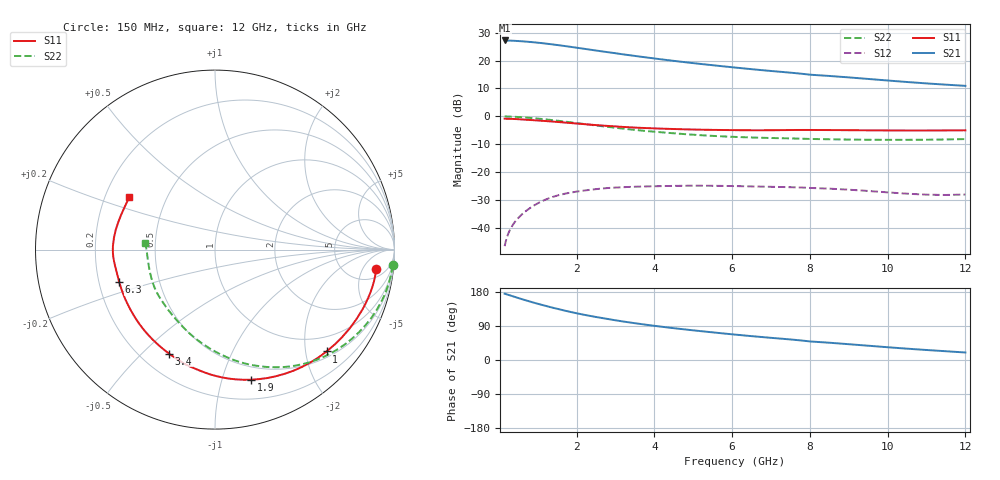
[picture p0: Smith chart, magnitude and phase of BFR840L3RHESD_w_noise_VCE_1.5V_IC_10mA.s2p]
! Infineon Technologies  Discrete & RF Semiconductors
! BFR840L3RHESD
! VCE =  1.5 V,  IC =  10 mA
! Common Emitter S-Parameters:  Jun 2012
# GHz  S  MA  R  50
!  f  S11  S21  S12  S22
! GHz  MAG  ANG  MAG  ANG  MAG  ANG  MAG  ANG
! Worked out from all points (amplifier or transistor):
!   91 points, 150 MHz to 12 GHz, reference 50 ohm
!   highest |S21| = 27.2 dB at 150 MHz (marker M1)
!   |S21| within 3 dB of that: start of sweep to 2.202 GHz
!   unconditionally stable (mu >= 1): 8.34 GHz to end of sweep
!   at 1.3 GHz: K = 0.13, MSG = 27.6 dB, |S12| = -29.3 dB
!   at 4.3 GHz: K = 0.41, MSG = 22.6 dB, |S12| = -25.0 dB
!   at 12 GHz: K = 2.10, MAG = 13.5 dB, |S12| = -28.0 dB
!   lowest NFmin = 0.70 dB at 450 MHz
!   S11 on the Smith chart (normalised r, x): 150 MHz: 8, -10; 1 GHz: 0.63, -2.44; 1.9 GHz: 0.37, -1.25; 3.4 GHz: 0.31, -0.61; 6.3 GHz: 0.29, -0.15; 12 GHz: 0.30, +0.26
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0.15  0.9046 -6.7  22.89 175.0  0.0047 82.3  0.9936 -5.1
0.35  0.898 -15.6  22.65 168.5  0.011 80.8  0.9837 -12.2
0.6  0.878 -26.3  22.1 160.4  0.0176 74.0  0.9615 -20.5
0.8  0.86 -34.5  21.53 154.3  0.0226 68.5  0.9378 -26.8
1  0.8417 -42.4  20.88 148.5  0.0275 63.5  0.9108 -33.0
1.2  0.8229 -50.0  20.15 143.0  0.0321 59.1  0.8818 -38.9
1.4  0.8033 -57.3  19.38 137.7  0.0361 55.0  0.8515 -44.5
1.7  0.7728 -67.8  18.18 130.2  0.041 49.3  0.8045 -52.4
1.9  0.7525 -74.4  17.38 125.6  0.0435 45.7  0.7729 -57.4
2.2  0.7233 -83.7  16.21 119.2  0.0467 40.9  0.7266 -64.4
2.5  0.6964 -92.0  15.11 113.5  0.0495 36.9  0.6844 -70.8
2.9  0.6657 -102.1  13.82 106.5  0.0523 32.6  0.6353 -78.5
3.4  0.6335 -113.8  12.35 98.6  0.0543 27.8  0.5801 -87.7
3.8  0.6149 -122.0  11.35 92.9  0.0554 24.5  0.5449 -94.3
4.2  0.6008 -129.6  10.46 87.7  0.0561 21.6  0.5155 -100.4
5.1  0.5775 -144.8  8.827 77.2  0.057 16.2  0.463 -113.5
6.1  0.5647 -158.8  7.457 66.8  0.056 11.6  0.4268 -126.9
6.3  0.5631 -161.3  7.222 64.9  0.0557 10.9  0.4217 -129.5
8  0.5689 177.7  5.575 49.0  0.052 6.0  0.3927 -152.1
8.5  0.5668 173.4  5.289 45.6  0.0505 4.8  0.3875 -156.6
10.5  0.5567 156.8  4.119 29.9  0.041 7.1  0.3788 -175.2
12  0.5612 148.2  3.514 19.8  0.0396 19.4  0.3906 174.6
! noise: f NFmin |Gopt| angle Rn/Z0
0.45  0.7  0.31  6  0.16
0.9  0.73  0.31  11  0.15
1.9  0.76  0.33  30  0.15
3.5  0.77  0.32  51  0.14
4  0.79  0.32  60  0.13
5.5  0.82  0.33  74  0.13
7  0.88  0.32  93  0.12
8  0.94  0.3  105  0.11
10  1.04  0.29  125  0.1
12  1.18  0.26  161  0.09
